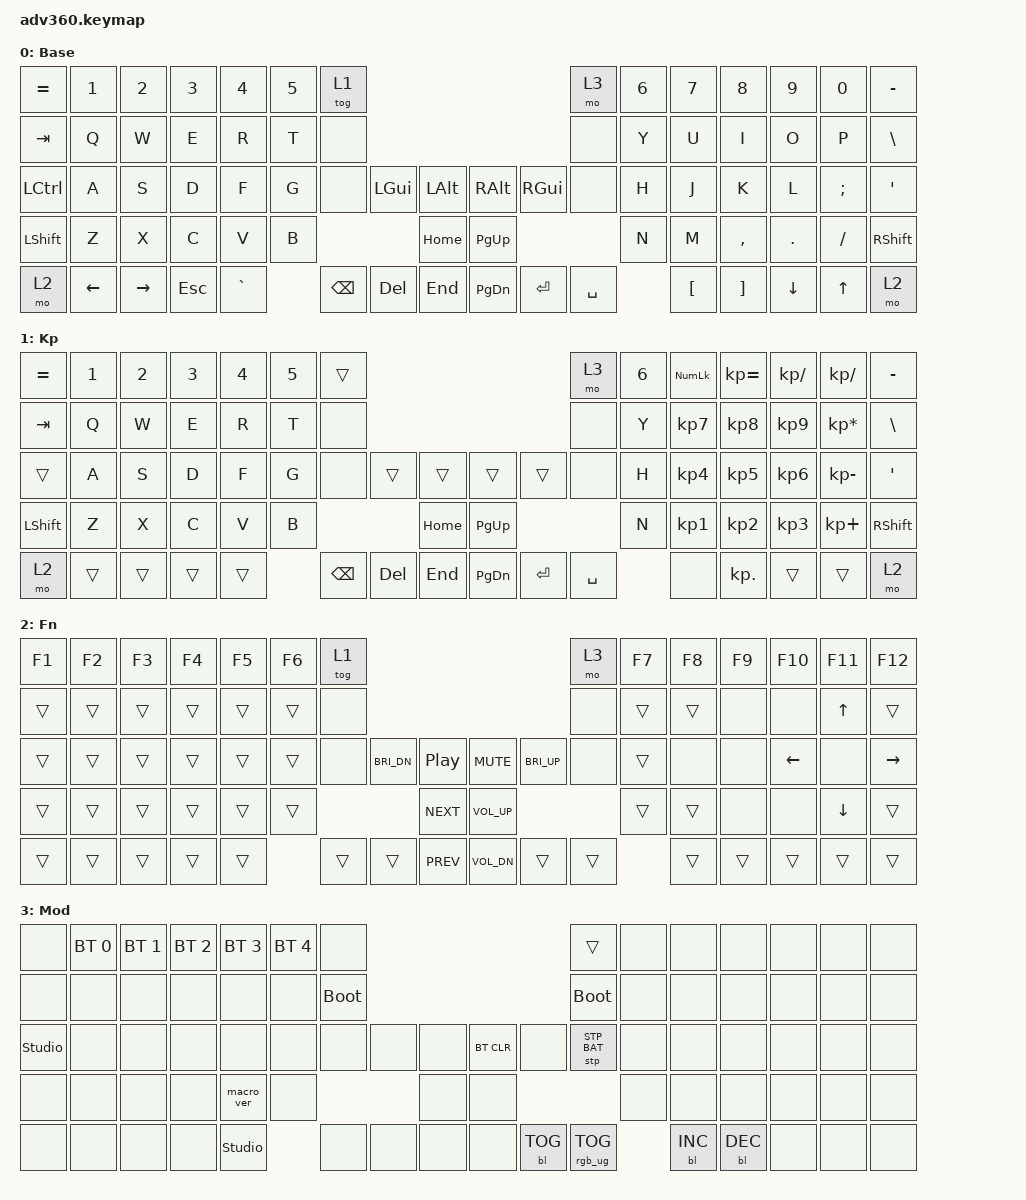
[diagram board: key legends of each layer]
#include <dt-bindings/zmk/stp.h>
#include <behaviors.dtsi>
#include <dt-bindings/zmk/backlight.h>
#include <dt-bindings/zmk/bt.h>
#include <dt-bindings/zmk/keys.h>
#include <dt-bindings/zmk/rgb.h>

/ {
    behaviors {
        #include "macros.dtsi"
      #include "version.dtsi"

        hm: homerow_mods {
            compatible = "zmk,behavior-hold-tap";
            label = "HOMEROW_MODS";
            #binding-cells = <2>;
            tapping-term-ms = <200>;
            quick_tap_ms = <175>;
            flavor = "tap-preferred";
            bindings = <&kp>, <&kp>;
        };
    };

    keymap {
        compatible = "zmk,keymap";

        default_layer {
            display-name = "Base";
            bindings = <
&kp EQUAL  &kp N1    &kp N2     &kp N3   &kp N4     &kp N5  &tog 1                                                  &mo 3      &kp N6  &kp N7    &kp N8     &kp N9    &kp N0    &kp MINUS
&kp TAB    &kp Q     &kp W      &kp E    &kp R      &kp T   &none                                                   &none      &kp Y   &kp U     &kp I      &kp O     &kp P     &kp BSLH
&kp LCTRL  &kp A     &kp S      &kp D    &kp F      &kp G   &none     &kp LGUI  &kp LALT      &kp RALT   &kp RGUI   &none      &kp H   &kp J     &kp K      &kp L     &kp SEMI  &kp SQT
&kp LSHFT  &kp Z     &kp X      &kp C    &kp V      &kp B                       &kp HOME      &kp PG_UP                        &kp N   &kp M     &kp COMMA  &kp DOT   &kp FSLH  &kp RSHFT
&mo 2      &kp LEFT  &kp RIGHT  &kp ESC  &kp GRAVE          &kp BSPC  &kp DEL   &kp END       &kp PG_DN  &kp ENTER  &kp SPACE          &kp LBKT  &kp RBKT   &kp DOWN  &kp UP    &mo 2
            >;
        };

        keypad {
            display-name = "Kp";
            bindings = <
&kp EQUAL  &kp N1  &kp N2  &kp N3  &kp N4  &kp N5  &trans                                                 &mo 3      &kp N6  &kp KP_NUM  &kp KP_EQUAL  &kp KP_DIVIDE  &kp KP_DIVIDE    &kp MINUS
&kp TAB    &kp Q   &kp W   &kp E   &kp R   &kp T   &none                                                  &none      &kp Y   &kp KP_N7   &kp KP_N8     &kp KP_N9      &kp KP_MULTIPLY  &kp BSLH
&trans     &kp A   &kp S   &kp D   &kp F   &kp G   &none     &trans   &trans        &trans     &trans     &none      &kp H   &kp KP_N4   &kp KP_N5     &kp KP_N6      &kp KP_MINUS     &kp SQT
&kp LSHFT  &kp Z   &kp X   &kp C   &kp V   &kp B                      &kp HOME      &kp PG_UP                        &kp N   &kp KP_N1   &kp KP_N2     &kp KP_N3      &kp KP_PLUS      &kp RSHFT
&mo 2      &trans  &trans  &trans  &trans          &kp BSPC  &kp DEL  &kp END       &kp PG_DN  &kp ENTER  &kp SPACE          &none       &kp KP_DOT    &trans         &trans           &mo 2
            >;
        };

        fn {
            display-name = "Fn";
            bindings = <
&kp F1  &kp F2  &kp F3  &kp F4  &kp F5  &kp F6  &tog 1                                                            &mo 3   &kp F7  &kp F8  &kp F9  &kp F10   &kp F11   &kp F12
&trans  &trans  &trans  &trans  &trans  &trans  &none                                                             &none   &trans  &trans  &none   &none     &kp UP    &trans
&trans  &trans  &trans  &trans  &trans  &trans  &none   &kp C_BRI_DN  &kp C_PP        &kp C_MUTE    &kp C_BRI_UP  &none   &trans  &none   &none   &kp LEFT  &none     &kp RIGHT
&trans  &trans  &trans  &trans  &trans  &trans                        &kp C_NEXT      &kp C_VOL_UP                        &trans  &trans  &none   &none     &kp DOWN  &trans
&trans  &trans  &trans  &trans  &trans          &trans  &trans        &kp C_PREV      &kp C_VOL_DN  &trans        &trans          &trans  &trans  &trans    &trans    &trans
            >;
        };

        mod {
            display-name = "Mod";
            bindings = <
&none           &bt BT_SEL 0  &bt BT_SEL 1  &bt BT_SEL 2  &bt BT_SEL 3    &bt BT_SEL 4  &none                                                  &trans           &none  &none       &none       &none  &none  &none
&none           &none         &none         &none         &none           &none         &bootloader                                            &bootloader      &none  &none       &none       &none  &none  &none
&studio_unlock  &none         &none         &none         &none           &none         &none        &none  &none      &bt BT_CLR  &none       &stp STP_BAT     &none  &none       &none       &none  &none  &none
&none           &none         &none         &none         &macro_ver      &none                             &none      &none                                    &none  &none       &none       &none  &none  &none
&none           &none         &none         &none         &studio_unlock                &none        &none  &none      &none       &bl BL_TOG  &rgb_ug RGB_TOG         &bl BL_INC  &bl BL_DEC  &none  &none  &none
            >;
        };

        extra1 {
            display-name = "Red";
            status = "reserved";
        };

        extra2 {
            display-name = "Purple";
            status = "reserved";
        };

        extra3 {
            display-name = "Cyan";
            status = "reserved";
        };

        extra4 {
            display-name = "Yellow";
            status = "reserved";
        };
    };
};
